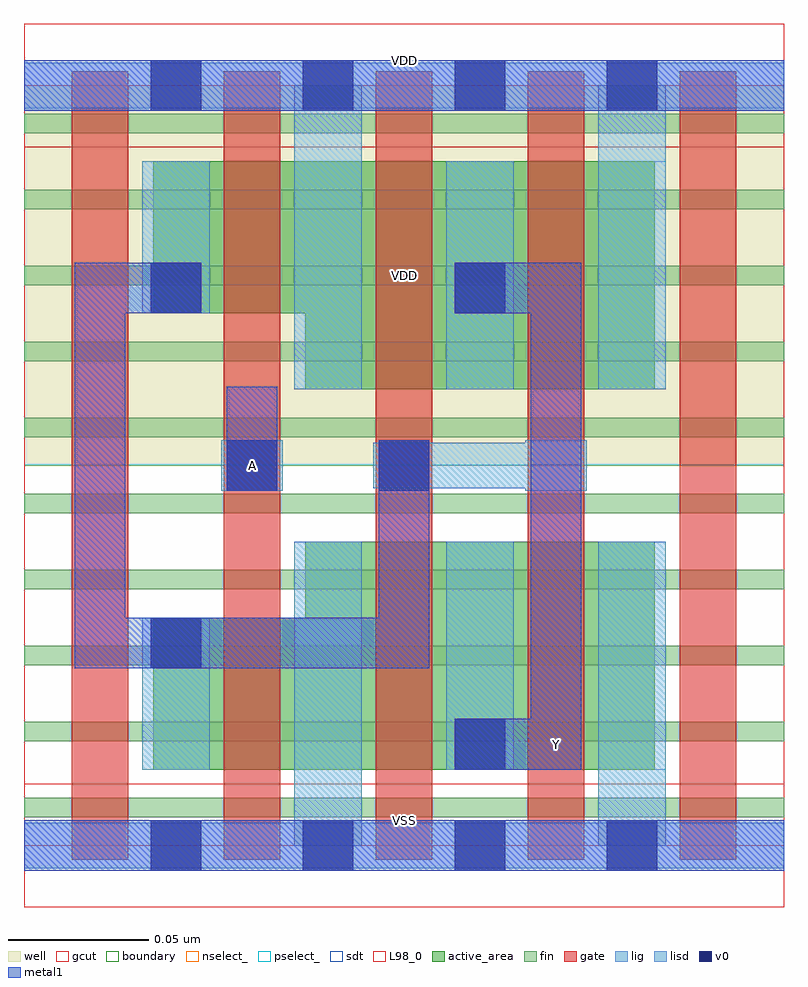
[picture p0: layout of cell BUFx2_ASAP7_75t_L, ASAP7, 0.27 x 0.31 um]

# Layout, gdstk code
import gdstk
lib = gdstk.Library(unit=1e-6, precision=2.5e-10)
def R(c, l, rs):  # rectangles x0, y0, x1, y1
    for r in rs: c.add(gdstk.rectangle(r[:2], r[2:], *l))
def A(c, l, x, y, w, h, nx, ny, dx, dy):  # array of equal rectangles
    R(c, l, [(x+i*dx, y+j*dy, x+i*dx+w, y+j*dy+h) for i in range(nx) for j in range(ny)])
def P(c, l, *ps):  # polygons
    for p in ps: c.add(gdstk.Polygon(p, *l))
well = (1, 0)
fin = (2, 0)
gate = (7, 0)
gcut = (10, 0)
active_area = (11, 0)
nselect_ = (12, 0)
pselect_ = (13, 0)
lig = (16, 0)
lisd = (17, 0)
v0 = (18, 0)
metal1 = (19, 0)
sdt = (88, 0)
L98_0 = (98, 0)
boundary = (100, 0)

bufx2_asap7_75t_l = lib.new_cell('BUFx2_ASAP7_75t_L')
R(bufx2_asap7_75t_l, well, [(0,0.135,0.27,0.27)])
A(bufx2_asap7_75t_l, fin, 0, 0.01, 0.27, 0.007, 1, 10, 0, 0.027)
A(bufx2_asap7_75t_l, gate, 0.017, -0.005, 0.02, 0.28, 5, 1, 0.054, 0)
R(bufx2_asap7_75t_l, gcut, [(0,-0.022,0.27,0.022), (0,0.248,0.27,0.292)])
P(bufx2_asap7_75t_l, active_area, [(0.1,0.081),(0.046,0.081),(0.046,0.027),(0.224,0.027),(0.224,0.108),(0.1,0.108)],
  [(0.046,0.189),(0.1,0.189),(0.1,0.162),(0.224,0.162),(0.224,0.243),(0.046,0.243)])
R(bufx2_asap7_75t_l, nselect_, [(0,0,0.27,0.135)])
R(bufx2_asap7_75t_l, pselect_, [(0,0.135,0.27,0.27)])
R(bufx2_asap7_75t_l, lig, [(0,-0.008,0.27,0.008), (0.07,0.126,0.092,0.144), (0.178,0.126,0.2,0.144), (0.124,0.127,0.2,0.143), (0,0.262,0.27,0.278)])
R(bufx2_asap7_75t_l, lisd, [(0.096,0,0.12,0.108), (0.096,0,0.12,0.108), (0.204,0,0.228,0.108), (0.204,0,0.228,0.108), (0.042,0.027,0.066,0.081), (0.15,0.027,0.174,0.108), (0.096,0.162,0.12,0.27), (0.096,0.162,0.12,0.27), (0.15,0.162,0.174,0.243), (0.204,0.162,0.228,0.27), (0.204,0.162,0.228,0.27), (0.042,0.189,0.066,0.243)])
A(bufx2_asap7_75t_l, v0, 0.045, -0.009, 0.018, 0.018, 4, 2, 0.054, 0.27)
R(bufx2_asap7_75t_l, v0, [(0.153,0.027,0.171,0.045), (0.045,0.063,0.063,0.081), (0.072,0.126,0.09,0.144), (0.126,0.126,0.144,0.144), (0.045,0.189,0.063,0.207), (0.153,0.189,0.171,0.207)])
R(bufx2_asap7_75t_l, metal1, [(0,-0.009,0.27,0.009), (0.153,0.027,0.171,0.045), (0.045,0.063,0.063,0.081), (0.072,0.126,0.09,0.144), (0.072,0.126,0.09,0.163), (0.126,0.126,0.144,0.144), (0.045,0.189,0.063,0.207), (0.153,0.189,0.171,0.207), (0,0.261,0.27,0.279)])
P(bufx2_asap7_75t_l, metal1, [(0.126,0.144),(0.126,0.081),(0.036,0.081),(0.036,0.189),(0.063,0.189),(0.063,0.207),(0.018,0.207),(0.018,0.063),(0.144,0.063),(0.144,0.144)],
  [(0.153,0.207),(0.153,0.189),(0.18,0.189),(0.18,0.045),(0.153,0.045),(0.153,0.027),(0.198,0.027),(0.198,0.207)])
A(bufx2_asap7_75t_l, sdt, 0.096, 0.027, 0.024, 0.081, 3, 2, 0.054, 0.135)
R(bufx2_asap7_75t_l, sdt, [(0.042,0.027,0.066,0.081), (0.096,0.027,0.12,0.108), (0.204,0.027,0.228,0.108), (0.096,0.162,0.12,0.243), (0.204,0.162,0.228,0.243), (0.042,0.189,0.066,0.243)])
R(bufx2_asap7_75t_l, L98_0, [(0,0,0.27,0.27)])
R(bufx2_asap7_75t_l, boundary, [(0,0,0.27,0.27)])
bufx2_asap7_75t_l.add(gdstk.Label('VDD', (0.135,0.2025), layer=1, texttype=251))
bufx2_asap7_75t_l.add(gdstk.Label('VSS', (0.135,-0.0675), layer=3, texttype=251))
bufx2_asap7_75t_l.add(gdstk.Label('VSS', (0.135,0.009), layer=19, texttype=251))
bufx2_asap7_75t_l.add(gdstk.Label('VDD', (0.135,0.279), layer=19, texttype=251))
bufx2_asap7_75t_l.add(gdstk.Label('A', (0.081,0.135), layer=19, texttype=251))
bufx2_asap7_75t_l.add(gdstk.Label('Y', (0.189,0.036), layer=19, texttype=251))

lib.write_gds('BUFx2_ASAP7_75t_L.gds')
